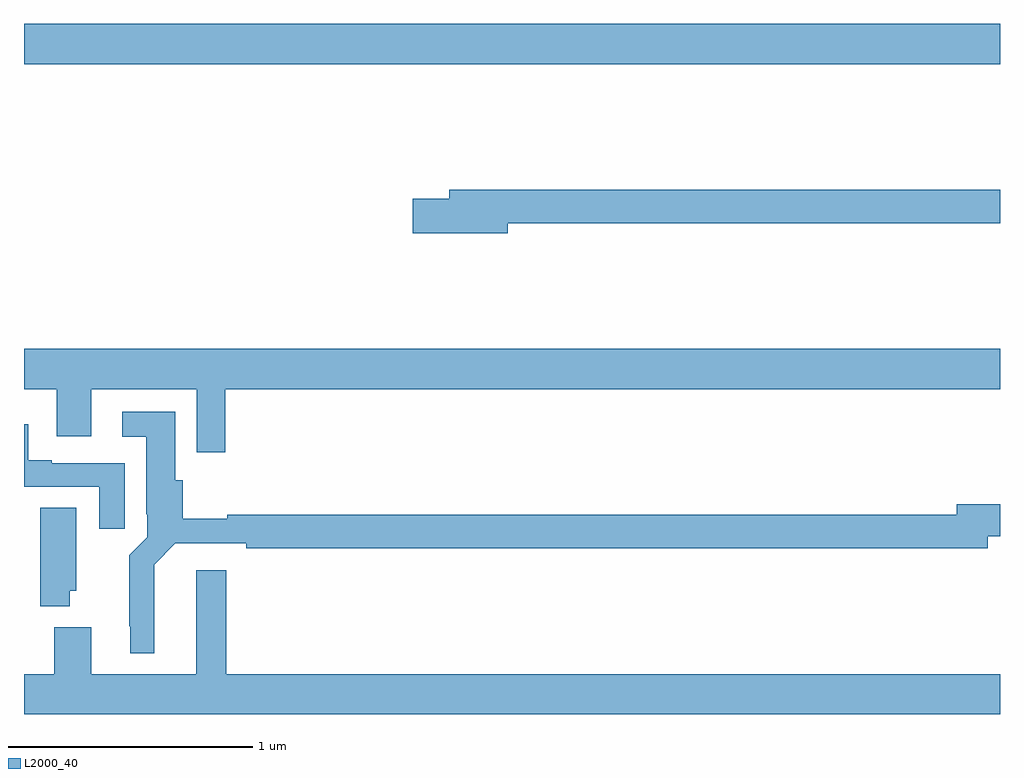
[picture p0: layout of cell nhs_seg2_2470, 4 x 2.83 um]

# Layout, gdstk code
import gdstk
lib = gdstk.Library(unit=1e-6, precision=1e-09)
def R(c, l, rs):  # rectangles x0, y0, x1, y1
    for r in rs: c.add(gdstk.rectangle(r[:2], r[2:], *l))
def P(c, l, *ps):  # polygons
    for p in ps: c.add(gdstk.Polygon(p, *l))
L2000_40 = (2000, 40)

nhs_seg2_2470 = lib.new_cell('nhs_seg2_2470')
R(nhs_seg2_2470, L2000_40, [(239,663.62,243,663.784)])
P(nhs_seg2_2470, L2000_40, [(240.982,662.968),(243,662.968),(243,663.104),(240.743,663.104),(240.743,663.068),(240.594,663.068),(240.594,662.926),(240.982,662.926)],
  [(239.825,662.288),(243,662.288),(243,662.452),(239,662.452),(239,662.288),(239.135,662.288),(239.135,662.094),(239.275,662.094),(239.275,662.288),(239.709,662.288),(239.709,662.028),(239.825,662.028)],
  [(239.533,661.568),(239.62,661.656),(239.911,661.656),(239.911,661.636),(242.95,661.636),(242.95,661.685),(243,661.685),(243,661.815),(242.822,661.815),(242.822,661.772),(239.834,661.772),(239.834,661.757),(239.651,661.757),(239.651,661.914),(239.62,661.914),(239.62,662.194),(239.403,662.194),(239.403,662.093),(239.501,662.093),(239.501,661.774),(239.505,661.774),(239.505,661.68),(239.431,661.606),(239.431,661.315),(239.435,661.315),(239.435,661.205),(239.533,661.205)],
  [(239.413,661.983),(239.113,661.983),(239.113,661.996),(239.017,661.996),(239.017,662.143),(239,662.143),(239,661.887),(239.309,661.887),(239.309,661.716),(239.413,661.716)],
  [(239.188,661.461),(239.215,661.461),(239.215,661.802),(239.066,661.802),(239.066,661.397),(239.188,661.397)],
  [(243,661.12),(239.828,661.12),(239.828,661.546),(239.705,661.546),(239.705,661.12),(239.275,661.12),(239.275,661.312),(239.123,661.312),(239.123,661.12),(239,661.12),(239,660.956),(243,660.956)])

lib.write_gds('nhs_seg2_2470.gds')
